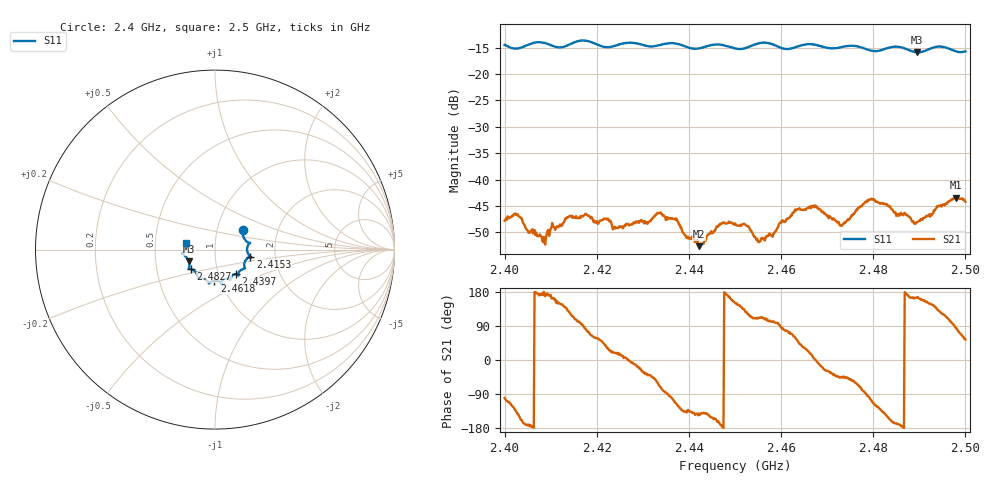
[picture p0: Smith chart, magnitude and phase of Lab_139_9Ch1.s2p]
# Hz S RI R 50
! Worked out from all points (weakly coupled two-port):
!   601 points, 2.4 GHz to 2.5 GHz, reference 50 ohm
!   highest |S21| = -43.39 dB at 2.498 GHz (marker M1); lowest = -52.6 dB at 2.4422 GHz (marker M2)
!   lowest |S11| = -15.9 dB at 2.4895 GHz (marker M3), VSWR 1.38, Z = 37 - j5 ohm
!   |S11| at or under -10 dB: start of sweep to end of sweep
!   S12 and S22 are empty: the file has one direction only
!   S11 on the Smith chart (normalised r, x): 2.4 GHz: 1.33, +0.29; 2.4153 GHz: 1.48, -0.12; 2.4397 GHz: 1.21, -0.34; 2.4618 GHz: 0.94, -0.33; 2.4827 GHz: 0.75, -0.17; 2.5 GHz: 0.72, +0.06
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2.4e9  0.1555 0.1069  -0.000754 -0.00403  0 0  0 0
2.402667e9  0.1614 0.0641  -0.00345 -0.00307  0 0  0 0
2.4085e9  0.1936 0.0368  -0.00287 6.72e-06  0 0  0 0
2.415333e9  0.1969 -0.0391  -0.00128 0.00414  0 0  0 0
2.416667e9  0.2027 -0.0433  -0.000462 0.00451  0 0  0 0
2.424e9  0.1627 -0.088  0.00328 0.00109  0 0  0 0
2.433333e9  0.1298 -0.1338  0.00219 -0.00428  0 0  0 0
2.437167e9  0.1312 -0.1431  -0.00169 -0.00379  0 0  0 0
2.439667e9  0.1167 -0.1358  -0.00192 -0.00204  0 0  0 0
2.442167e9  0.0941 -0.147  -0.00183 -0.00147  0 0  0 0
2.447e9  0.0842 -0.1693  -0.00378 -0.000563  0 0  0 0
2.45e9  0.0654 -0.1621  -0.00336 0.0019  0 0  0 0
2.455167e9  0.0366 -0.1916  -0.000915 0.0024  0 0  0 0
2.461833e9  -0.0034 -0.173  0.00123 0.00419  0 0  0 0
2.466667e9  -0.0349 -0.188  0.00546 0.00131  0 0  0 0
2.473167e9  -0.0822 -0.16  0.00258 -0.00258  0 0  0 0
2.479167e9  -0.1041 -0.1318  -0.00102 -0.00636  0 0  0 0
2.482667e9  -0.135 -0.1088  -0.00478 -0.00348  0 0  0 0
2.483333e9  -0.14 -0.1083  -0.00503 -0.00257  0 0  0 0
2.4895e9  -0.1458 -0.0659  -0.00382 0.00102  0 0  0 0
2.498e9  -0.1636 0.00486  0.000744 0.00673  0 0  0 0
2.5e9  -0.1593 0.0383  0.0036 0.00501  0 0  0 0
